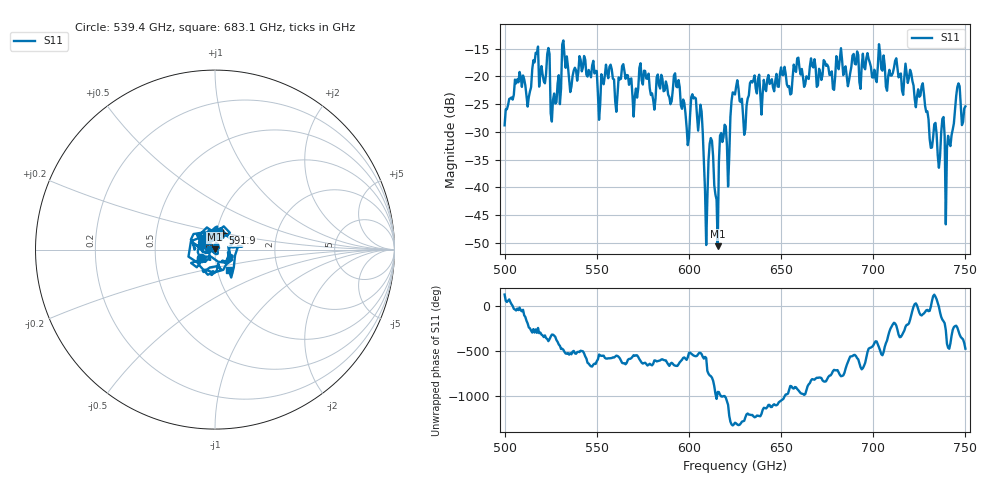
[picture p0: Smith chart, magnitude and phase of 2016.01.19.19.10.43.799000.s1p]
!Created with skrf (http://scikit-rf.org).
# GHz S RI R 50.0
!freq ReS11 ImS11
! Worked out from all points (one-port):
!   401 points, 500 GHz to 750 GHz, reference 50 ohm
!   lowest |S11| = -50.6 dB at 615.6 GHz (marker M1), VSWR 1.01, Z = 49.8 + j0.238 ohm
!   |S11| at or under -10 dB: start of sweep to end of sweep
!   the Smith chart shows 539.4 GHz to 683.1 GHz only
!   S11 on the Smith chart (normalised r, x): 539.4 GHz: 0.85, -0.08; 591.9 GHz: 1.07, +0.20; 683.1 GHz: 1.13, -0.27
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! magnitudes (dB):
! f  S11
! 500 GHz  -28.8
! 513.1 GHz  -23.7
! 516.9 GHz  -15.7
! 523.1 GHz  -16.0
! 526.2 GHz  -24.2
! 531.2 GHz  -14.3
! 539.4 GHz  -20.8
! 562.5 GHz  -20.5
! 591.9 GHz  -19.8
! 593.8 GHz  -22.0
! 599.4 GHz  -32.4
! 602.5 GHz  -24.0
! 606.2 GHz  -25.1
! 609.4 GHz  -50.4
! 611.9 GHz  -31.1
! 615.6 GHz  -50.6
! 618.1 GHz  -31.8
! 621.2 GHz  -39.9
! 625 GHz  -23.3
! 630.6 GHz  -29.5
! 634.4 GHz  -21.1
! 656.2 GHz  -20.2
! 683.1 GHz  -17.2
! 687.5 GHz  -19.4
! 718.8 GHz  -21.2
! 740.6 GHz  -30.7
! 745.6 GHz  -21.9
! 750 GHz  -25.4
